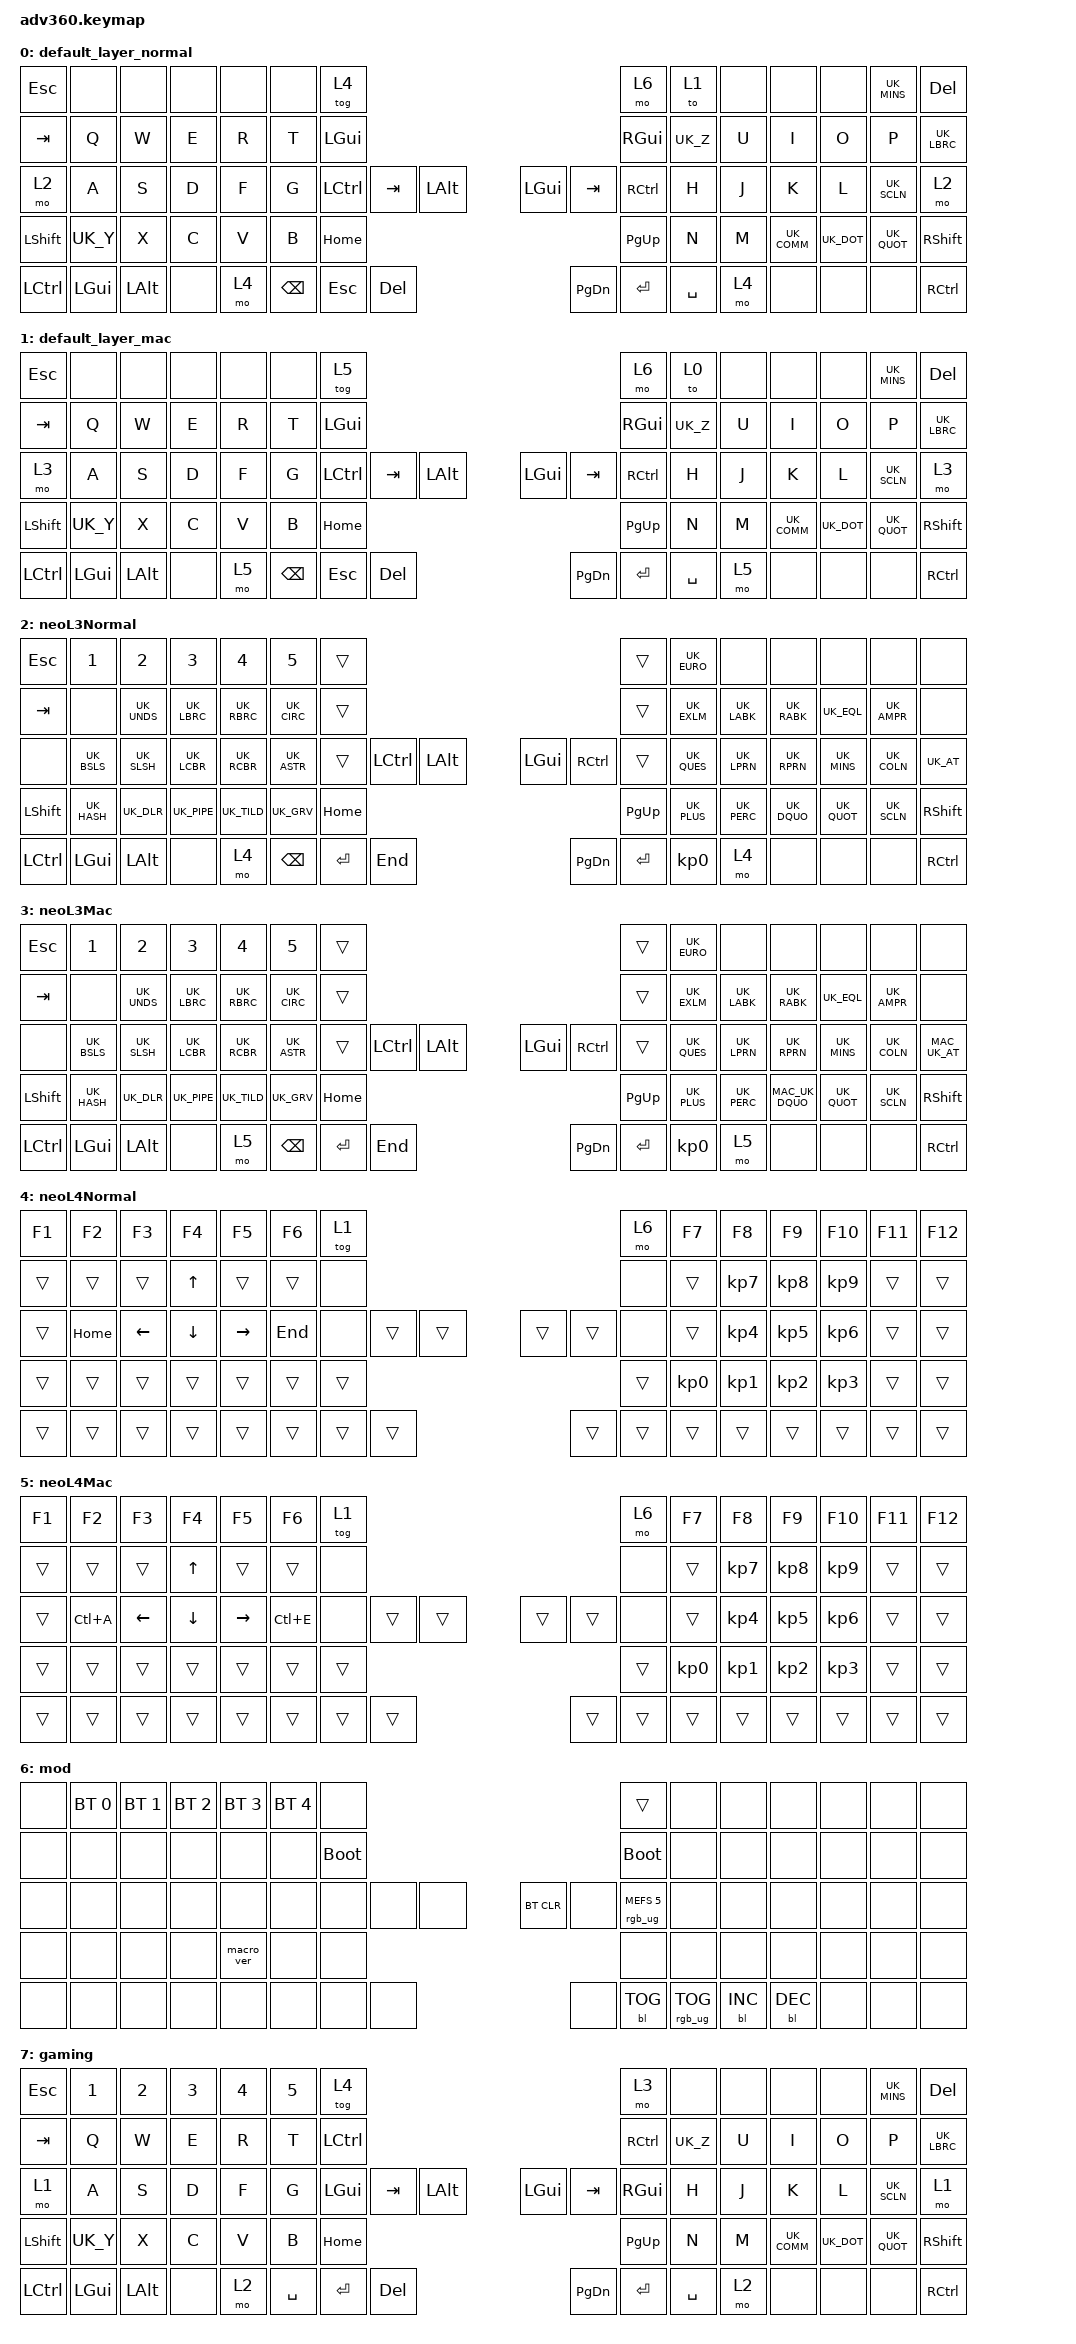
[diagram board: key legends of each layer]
#include <behaviors.dtsi>
#include <dt-bindings/zmk/keys.h>
#include <dt-bindings/zmk/bt.h>
#include <dt-bindings/zmk/rgb.h>
#include <dt-bindings/zmk/backlight.h>
#include "keymap_uk.h"
/ {
    behaviors {
      #include "macros.dtsi"
      #include "version.dtsi"
      #ifndef VERSION_MACRO
      macro_ver: macro_ver {
        compatible = "zmk,behavior-macro";
        label = "macro_version";
        #binding-cells = <0>;
        bindings = <&kp RET>;
      };
      #endif

      hm: homerow_mods {
          compatible = "zmk,behavior-hold-tap";
          label = "HOMEROW_MODS";
          #binding-cells = <2>;
          tapping-term-ms = <200>;
          quick_tap_ms = <175>;
          flavor = "tap-preferred";
          bindings = <&kp>, <&kp>;
      };
    };

  keymap {
    compatible = "zmk,keymap";

    default_layer_normal {
      bindings = <
        &kp ESC      &none         &none      &none      &none       &none      &tog 4                                                                                                              &mo 6      &to 1      &none      &none         &none        &kp UK_MINS      &kp DEL
        &kp TAB      &kp Q         &kp W      &kp E      &kp R       &kp T      &kp LGUI                                                                                                           &kp RGUI  &kp UK_Z   &kp U      &kp I         &kp O        &kp P          &kp UK_LBRC
        &mo 2        &kp A         &kp S      &kp D      &kp F       &kp G      &kp LCTRL                    &kp TAB      &kp LALT                  &kp LGUI       &kp TAB                       &kp RCTRL   &kp H      &kp J      &kp K         &kp L        &kp UK_SCLN    &mo 2
        &kp LSHFT    &kp UK_Y      &kp X      &kp C      &kp V       &kp B                                               &kp HOME                  &kp PG_UP                                               &kp N      &kp M      &kp UK_COMM   &kp UK_DOT   &kp UK_QUOT    &kp RSHFT
        &kp LCTRL    &kp LGUI      &kp LALT   &none      &mo 4                                &kp BSPC      &kp ESC        &kp DEL                   &kp PG_DN      &kp ENTER      &kp SPACE                              &mo 4      &none         &none        &none          &kp RCTRL
      >;
    };
    default_layer_mac {
      bindings = <
        &kp ESC      &none         &none      &none      &none       &none      &tog 5                                                                                                              &mo 6      &to 0      &none      &none         &none        &kp UK_MINS      &kp DEL
        &kp TAB      &kp Q         &kp W      &kp E      &kp R       &kp T      &kp LGUI                                                                                                           &kp RGUI  &kp UK_Z   &kp U      &kp I         &kp O        &kp P          &kp UK_LBRC
        &mo 3        &kp A         &kp S      &kp D      &kp F       &kp G      &kp LCTRL                   &kp TAB      &kp LALT                  &kp LGUI       &kp TAB                       &kp RCTRL   &kp H      &kp J      &kp K         &kp L        &kp UK_SCLN    &mo 3
        &kp LSHFT    &kp UK_Y      &kp X      &kp C      &kp V       &kp B                                               &kp HOME                  &kp PG_UP                                               &kp N      &kp M      &kp UK_COMM   &kp UK_DOT   &kp UK_QUOT    &kp RSHFT
        &kp LCTRL    &kp LGUI      &kp LALT   &none      &mo 5                                &kp BSPC      &kp ESC        &kp DEL                   &kp PG_DN      &kp ENTER      &kp SPACE                              &mo 5      &none         &none        &none          &kp RCTRL
      >;
    };
    neoL3Normal {
      bindings = <
        &kp ESC      &kp N1          &kp N2         &kp N3         &kp N4           &kp N5           &trans                                                                                                           &trans      &kp UK_EURO      &none            &none             &none         &none          &none
        &kp TAB      &none           &kp UK_UNDS    &kp UK_LBRC    &kp UK_RBRC      &kp UK_CIRC      &trans                                                                                                           &trans      &kp UK_EXLM      &kp UK_LABK      &kp UK_RABK       &kp UK_EQL    &kp UK_AMPR    &none
        &none        &kp UK_BSLS     &kp UK_SLSH    &kp UK_LCBR    &kp UK_RCBR      &kp UK_ASTR      &trans                          &kp LCTRL &kp LALT                     &kp LGUI      &kp RCTRL                   &trans      &kp UK_QUES      &kp UK_LPRN      &kp UK_RPRN      &kp UK_MINS   &kp UK_COLN    &kp UK_AT
        &kp LSHFT    &kp UK_HASH     &kp UK_DLR     &kp UK_PIPE    &kp UK_TILD      &kp UK_GRV                                                 &kp HOME                     &kp PG_UP                                             &kp UK_PLUS      &kp UK_PERC      &kp UK_DQUO       &kp UK_QUOT   &kp UK_SCLN    &kp RSHIFT
        &kp LCTRL    &kp LGUI        &kp LALT       &none          &mo 4                                              &kp BSPC      &kp ENTER  &kp END                      &kp PG_DN     &kp ENTER      &kp KP_N0                                 &mo 4            &none             &none         &none          &kp RCTRL
      >;
    };                            
    neoL3Mac {
      bindings = <
        &kp ESC      &kp N1          &kp N2         &kp N3         &kp N4           &kp N5           &trans                                                                                                           &trans      &kp UK_EURO      &none            &none             &none         &none          &none
        &kp TAB      &none           &kp UK_UNDS    &kp UK_LBRC    &kp UK_RBRC      &kp UK_CIRC      &trans                                                                                                           &trans      &kp UK_EXLM      &kp UK_LABK      &kp UK_RABK       &kp UK_EQL    &kp UK_AMPR    &none
        &none        &kp UK_BSLS     &kp UK_SLSH    &kp UK_LCBR    &kp UK_RCBR      &kp UK_ASTR      &trans                          &kp LCTRL &kp LALT                     &kp LGUI      &kp RCTRL                   &trans      &kp UK_QUES      &kp UK_LPRN      &kp UK_RPRN       &kp UK_MINS   &kp UK_COLN    &kp MAC_UK_AT
        &kp LSHFT    &kp UK_HASH     &kp UK_DLR     &kp UK_PIPE    &kp UK_TILD      &kp UK_GRV                                                 &kp HOME                     &kp PG_UP                                             &kp UK_PLUS      &kp UK_PERC      &kp MAC_UK_DQUO   &kp UK_QUOT   &kp UK_SCLN    &kp RSHIFT
        &kp LCTRL    &kp LGUI        &kp LALT       &none          &mo 5                                              &kp BSPC      &kp ENTER  &kp END                      &kp PG_DN     &kp ENTER      &kp KP_N0                                 &mo 5            &none             &none         &none          &kp RCTRL
      >;
    };
    neoL4Normal {
      bindings = <
        &kp F1       &kp F2       &kp F3       &kp F4      &kp F5       &kp F6       &tog 1                                                                         &mo 6        &kp F7        &kp F8        &kp F9        &kp F10        &kp F11        &kp F12
        &trans       &trans       &trans       &kp UP      &trans       &trans       &none                                                                          &none        &trans        &kp KP_N7     &kp KP_N8     &kp KP_N9      &trans         &trans
        &trans       &kp HOME     &kp LEFT     &kp DOWN    &kp RIGHT    &kp END         &none                &trans &trans                  &trans &trans           &none        &trans        &kp KP_N4     &kp KP_N5     &kp KP_N6      &trans         &trans
        &trans       &trans       &trans       &trans      &trans       &trans                                      &trans                  &trans                               &kp KP_N0     &kp KP_N1     &kp KP_N2     &kp KP_N3      &trans         &trans
        &trans       &trans       &trans       &trans      &trans                                  &trans &trans &trans                  &trans &trans &trans                                  &trans        &trans        &trans         &trans         &trans       
      >;      
    };
    neoL4Mac {
      bindings = <
        &kp F1       &kp F2       &kp F3       &kp F4      &kp F5       &kp F6       &tog 1                                                                         &mo 6        &kp F7        &kp F8        &kp F9        &kp F10        &kp F11        &kp F12
        &trans       &trans       &trans       &kp UP      &trans       &trans       &none                                                                          &none        &trans        &kp KP_N7     &kp KP_N8     &kp KP_N9      &trans         &trans
        &trans       &kp LC(A)    &kp LEFT     &kp DOWN    &kp RIGHT    &kp LC(E)       &none                &trans &trans                  &trans &trans           &none        &trans        &kp KP_N4     &kp KP_N5     &kp KP_N6      &trans         &trans
        &trans       &trans       &trans       &trans      &trans       &trans                                      &trans                  &trans                               &kp KP_N0     &kp KP_N1     &kp KP_N2     &kp KP_N3      &trans         &trans
        &trans       &trans       &trans       &trans      &trans                                  &trans &trans &trans                  &trans &trans &trans                                  &trans        &trans        &trans         &trans         &trans       
      >;      
    };
    mod {
      bindings = <
        &none &bt BT_SEL 0 &bt BT_SEL 1 &bt BT_SEL 2 &bt BT_SEL 3 &bt BT_SEL 4 &none                                                                     &trans                 &none        &none        &none        &none &none &none
        &none &none        &none        &none        &none        &none        &bootloader                                                               &bootloader            &none        &none        &none        &none &none &none
        &none &none        &none        &none        &none        &none        &none                   &none &none &bt BT_CLR &none                      &rgb_ug RGB_MEFS_CMD 5 &none        &none        &none        &none &none &none
        &none &none        &none        &none        &macro_ver   &none                                      &none &none                                                        &none        &none        &none        &none &none &none
        &none &none        &none        &none        &none                                       &none &none &none &none      &bl BL_TOG &rgb_ug RGB_TOG                                     &bl BL_INC   &bl BL_DEC   &none &none &none
      >;
    };

    gaming {
      bindings = <
        &kp ESC      &kp N1        &kp N2     &kp N3     &kp N4      &kp N5    &tog 4                                                                                                              &mo 3      &none      &none      &none         &none        &kp UK_MINS      &kp DEL
        &kp TAB      &kp Q         &kp W      &kp E      &kp R       &kp T      &kp LCTRL                                                                                                           &kp RCTRL  &kp UK_Z   &kp U      &kp I         &kp O        &kp P          &kp UK_LBRC
        &mo 1        &kp A         &kp S      &kp D      &kp F       &kp G      &kp LGUI                    &kp TAB      &kp LALT                  &kp LGUI       &kp TAB                       &kp RGUI   &kp H      &kp J      &kp K         &kp L        &kp UK_SCLN    &mo 1
        &kp LSHFT    &kp UK_Y      &kp X      &kp C      &kp V       &kp B                                               &kp HOME                  &kp PG_UP                                               &kp N      &kp M      &kp UK_COMM   &kp UK_DOT   &kp UK_QUOT    &kp RSHFT
        &kp LCTRL    &kp LGUI      &kp LALT   &none      &mo 2                                &kp SPACE      &kp ENTER        &kp DEL                   &kp PG_DN      &kp ENTER      &kp SPACE                              &mo 2      &none         &none        &none          &kp RCTRL
      >;
    }; 

  };
};
